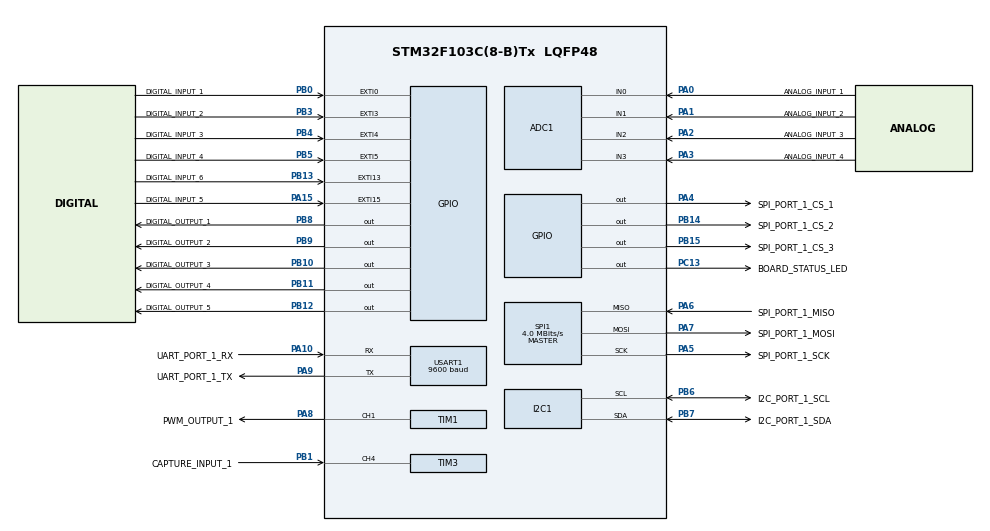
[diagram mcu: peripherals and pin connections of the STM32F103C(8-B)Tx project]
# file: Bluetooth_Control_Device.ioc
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ADC1.Channel-0\#ChannelRegularConversion=ADC_CHANNEL_0
ADC1.NbrOfConversionFlag=1
ADC1.Rank-0\#ChannelRegularConversion=1
ADC1.SamplingTime-0\#ChannelRegularConversion=ADC_SAMPLETIME_1CYCLE_5
ADC1.master=1
Mcu.Family=STM32F1
Mcu.Name=STM32F103C(8-B)Tx
Mcu.Package=LQFP48
NVIC.EXTI0_IRQn=true\:1\:0\:true\:false\:true\:true\:true\:true
NVIC.EXTI15_10_IRQn=true\:1\:0\:true\:false\:true\:true\:true\:true
NVIC.EXTI3_IRQn=true\:1\:0\:true\:false\:true\:true\:true\:true
NVIC.EXTI4_IRQn=true\:1\:0\:true\:false\:true\:true\:true\:true
NVIC.EXTI9_5_IRQn=true\:1\:0\:true\:false\:true\:true\:true\:true
NVIC.I2C1_ER_IRQn=true\:2\:0\:true\:false\:true\:true\:true\:true
NVIC.I2C1_EV_IRQn=true\:2\:0\:true\:false\:true\:true\:true\:true
NVIC.PriorityGroup=NVIC_PRIORITYGROUP_4
NVIC.TIM3_IRQn=true\:0\:0\:false\:false\:true\:true\:true\:true
NVIC.USART1_IRQn=true\:2\:0\:true\:false\:true\:true\:true\:true
PA0-WKUP.GPIO_Label=ANALOG_INPUT_1
PA0-WKUP.Signal=ADCx_IN0
PA1.GPIO_Label=ANALOG_INPUT_2
PA1.Signal=ADCx_IN1
PA10.GPIO_Label=UART_PORT_1_RX
PA10.Mode=Asynchronous
PA10.Signal=USART1_RX
PA13.Mode=Serial_Wire
PA13.Signal=SYS_JTMS-SWDIO
PA14.Mode=Serial_Wire
PA14.Signal=SYS_JTCK-SWCLK
PA15.GPIO_Label=DIGITAL_INPUT_5
PA15.GPIO_ModeDefaultEXTI=GPIO_MODE_IT_FALLING
PA15.GPIO_PuPd=GPIO_PULLUP
PA15.Signal=GPXTI15
PA2.GPIO_Label=ANALOG_INPUT_3
PA2.Signal=ADCx_IN2
PA3.GPIO_Label=ANALOG_INPUT_4
PA3.Signal=ADCx_IN3
PA4.GPIO_Label=SPI_PORT_1_CS_1
PA4.Signal=GPIO_Output
PA5.GPIO_Label=SPI_PORT_1_SCK
PA5.Mode=Full_Duplex_Master
PA5.Signal=SPI1_SCK
PA6.GPIO_Label=SPI_PORT_1_MISO
PA6.Mode=Full_Duplex_Master
PA6.Signal=SPI1_MISO
PA7.GPIO_Label=SPI_PORT_1_MOSI
PA7.Mode=Full_Duplex_Master
PA7.Signal=SPI1_MOSI
PA8.GPIO_Label=PWM_OUTPUT_1
PA8.Signal=S_TIM1_CH1
PA9.GPIO_Label=UART_PORT_1_TX
PA9.Mode=Asynchronous
PA9.Signal=USART1_TX
PB0.GPIO_Label=DIGITAL_INPUT_1
PB0.GPIO_ModeDefaultEXTI=GPIO_MODE_IT_FALLING
PB0.GPIO_PuPd=GPIO_PULLUP
PB0.Signal=GPXTI0
PB1.GPIO_Label=CAPTURE_INPUT_1
PB1.Signal=S_TIM3_CH4
PB10.GPIO_Label=DIGITAL_OUTPUT_3
PB10.Signal=GPIO_Output
PB11.GPIO_Label=DIGITAL_OUTPUT_4
PB11.Signal=GPIO_Output
PB12.GPIO_Label=DIGITAL_OUTPUT_5
PB12.Signal=GPIO_Output
PB13.GPIO_Label=DIGITAL_INPUT_6
PB13.Signal=GPXTI13
PB14.GPIO_Label=SPI_PORT_1_CS_2
PB14.Signal=GPIO_Output
PB15.GPIO_Label=SPI_PORT_1_CS_3
PB15.Signal=GPIO_Output
PB3.GPIO_Label=DIGITAL_INPUT_2
PB3.GPIO_ModeDefaultEXTI=GPIO_MODE_IT_FALLING
PB3.GPIO_PuPd=GPIO_PULLUP
PB3.Signal=GPXTI3
PB4.GPIO_Label=DIGITAL_INPUT_3
PB4.GPIO_ModeDefaultEXTI=GPIO_MODE_IT_FALLING
PB4.GPIO_PuPd=GPIO_PULLUP
PB4.Signal=GPXTI4
PB5.GPIO_Label=DIGITAL_INPUT_4
PB5.GPIO_ModeDefaultEXTI=GPIO_MODE_IT_FALLING
PB5.GPIO_PuPd=GPIO_PULLUP
PB5.Signal=GPXTI5
PB6.GPIO_Label=I2C_PORT_1_SCL
PB6.Mode=I2C
PB6.Signal=I2C1_SCL
PB7.GPIO_Label=I2C_PORT_1_SDA
PB7.Mode=I2C
PB7.Signal=I2C1_SDA
PB8.GPIO_Label=DIGITAL_OUTPUT_1
PB8.Signal=GPIO_Output
PB9.GPIO_Label=DIGITAL_OUTPUT_2
PB9.Signal=GPIO_Output
PC13-TAMPER-RTC.GPIO_Label=BOARD_STATUS_LED
PC13-TAMPER-RTC.Signal=GPIO_Output
PD0-OSC_IN.Mode=HSE-External-Oscillator
PD0-OSC_IN.Signal=RCC_OSC_IN
PD1-OSC_OUT.Mode=HSE-External-Oscillator
PD1-OSC_OUT.Signal=RCC_OSC_OUT
ProjectManager.HeapSize=0x200
ProjectManager.StackSize=0x400
ProjectManager.TargetToolchain=CMake
RCC.APB1Freq_Value=8000000
RCC.APB2Freq_Value=8000000
SH.ADCx_IN0.0=ADC1_IN0,IN0
SH.ADCx_IN1.0=ADC1_IN1,IN1
SH.ADCx_IN2.0=ADC1_IN2,IN2
SH.ADCx_IN3.0=ADC1_IN3,IN3
SH.S_TIM1_CH1.0=TIM1_CH1,PWM Generation1 CH1
SH.S_TIM3_CH4.0=TIM3_CH4,Input_Capture4_from_TI4
SPI1.CalculateBaudRate=4.0 MBits/s
SPI1.Direction=SPI_DIRECTION_2LINES
SPI1.Mode=SPI_MODE_MASTER
SPI1.VirtualType=VM_MASTER
TIM1.Channel-PWM\ Generation1\ CH1=TIM_CHANNEL_1
TIM1.Period=19999
TIM1.Prescaler=7
TIM3.Channel-Input_Capture4_from_TI4=TIM_CHANNEL_4
TIM3.ICFilter_CH4=4
TIM3.ICPolarity_CH4=TIM_INPUTCHANNELPOLARITY_FALLING
TIM3.Prescaler=7
USART1.BaudRate=9600
USART1.VirtualMode=VM_ASYNC
board=custom

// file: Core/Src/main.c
/* USER CODE BEGIN Header */
/**
  ******************************************************************************
  * @file           : main.c
  * @brief          : Main program body
  ******************************************************************************
  * @attention
  *
  * Copyright (c) 2026 STMicroelectronics.
  * All rights reserved.
  *
  * This software is licensed under terms that can be found in the LICENSE file
  * in the root directory of this software component.
  * If no LICENSE file comes with this software, it is provided AS-IS.
  *
  ******************************************************************************
  */
/* USER CODE END Header */
#include "main.h"

/* USER CODE BEGIN Includes */
#include "app.h"

/* USER CODE END Includes */

ADC_HandleTypeDef hadc1;

I2C_HandleTypeDef hi2c1;

SPI_HandleTypeDef hspi1;

TIM_HandleTypeDef htim1;
TIM_HandleTypeDef htim3;

UART_HandleTypeDef huart1;

void SystemClock_Config(void);
static void MX_GPIO_Init(void);
static void MX_I2C1_Init(void);
static void MX_TIM3_Init(void);
static void MX_ADC1_Init(void);
static void MX_SPI1_Init(void);
static void MX_TIM1_Init(void);
static void MX_USART1_UART_Init(void);

int main(void)
{

  /* MCU Configuration--------------------------------------------------------*/

  /* Reset of all peripherals, Initializes the Flash interface and the Systick. */
  HAL_Init();

  /* Configure the system clock */
  SystemClock_Config();

  /* Initialize all configured peripherals */
  MX_GPIO_Init();
  MX_I2C1_Init();
  MX_TIM3_Init();
  MX_ADC1_Init();
  MX_SPI1_Init();
  MX_TIM1_Init();
  MX_USART1_UART_Init();
  /* USER CODE BEGIN 2 */
  App_Initialize(&htim3, &htim1, &huart1, &hi2c1, HAL_GetTick());

  /* USER CODE END 2 */

  /* Infinite loop */
  while (1)
  {

    /* USER CODE BEGIN 3 */
    App_Service(HAL_GetTick());
  }
  /* USER CODE END 3 */
}

void SystemClock_Config(void)
{
  RCC_OscInitTypeDef RCC_OscInitStruct = {0};
  RCC_ClkInitTypeDef RCC_ClkInitStruct = {0};
  RCC_PeriphCLKInitTypeDef PeriphClkInit = {0};

  /** Initializes the RCC Oscillators according to the specified parameters
  * in the RCC_OscInitTypeDef structure.
  */
  RCC_OscInitStruct.OscillatorType = RCC_OSCILLATORTYPE_HSI;
  RCC_OscInitStruct.HSIState = RCC_HSI_ON;
  RCC_OscInitStruct.HSICalibrationValue = RCC_HSICALIBRATION_DEFAULT;
  RCC_OscInitStruct.PLL.PLLState = RCC_PLL_NONE;
  if (HAL_RCC_OscConfig(&RCC_OscInitStruct) != HAL_OK)
  {
    Error_Handler();
  }

  /** Initializes the CPU, AHB and APB buses clocks
  */
  RCC_ClkInitStruct.ClockType = RCC_CLOCKTYPE_HCLK|RCC_CLOCKTYPE_SYSCLK
                              |RCC_CLOCKTYPE_PCLK1|RCC_CLOCKTYPE_PCLK2;
  RCC_ClkInitStruct.SYSCLKSource = RCC_SYSCLKSOURCE_HSI;
  RCC_ClkInitStruct.AHBCLKDivider = RCC_SYSCLK_DIV1;
  RCC_ClkInitStruct.APB1CLKDivider = RCC_HCLK_DIV1;
  RCC_ClkInitStruct.APB2CLKDivider = RCC_HCLK_DIV1;

  if (HAL_RCC_ClockConfig(&RCC_ClkInitStruct, FLASH_LATENCY_0) != HAL_OK)
  {
    Error_Handler();
  }
  PeriphClkInit.PeriphClockSelection = RCC_PERIPHCLK_ADC;
  PeriphClkInit.AdcClockSelection = RCC_ADCPCLK2_DIV2;
  if (HAL_RCCEx_PeriphCLKConfig(&PeriphClkInit) != HAL_OK)
  {
    Error_Handler();
  }
}

static void MX_ADC1_Init(void)
{

  ADC_ChannelConfTypeDef sConfig = {0};

  /** Common config
  */
  hadc1.Instance = ADC1;
  hadc1.Init.ScanConvMode = ADC_SCAN_DISABLE;
  hadc1.Init.ContinuousConvMode = DISABLE;
  hadc1.Init.DiscontinuousConvMode = DISABLE;
  hadc1.Init.ExternalTrigConv = ADC_SOFTWARE_START;
  hadc1.Init.DataAlign = ADC_DATAALIGN_RIGHT;
  hadc1.Init.NbrOfConversion = 1;
  if (HAL_ADC_Init(&hadc1) != HAL_OK)
  {
    Error_Handler();
  }

  /** Configure Regular Channel
  */
  sConfig.Channel = ADC_CHANNEL_0;
  sConfig.Rank = ADC_REGULAR_RANK_1;
  sConfig.SamplingTime = ADC_SAMPLETIME_1CYCLE_5;
  if (HAL_ADC_ConfigChannel(&hadc1, &sConfig) != HAL_OK)
  {
    Error_Handler();
  }

}

static void MX_I2C1_Init(void)
{

  hi2c1.Instance = I2C1;
  hi2c1.Init.ClockSpeed = 100000;
  hi2c1.Init.DutyCycle = I2C_DUTYCYCLE_2;
  hi2c1.Init.OwnAddress1 = 0;
  hi2c1.Init.AddressingMode = I2C_ADDRESSINGMODE_7BIT;
  hi2c1.Init.DualAddressMode = I2C_DUALADDRESS_DISABLE;
  hi2c1.Init.OwnAddress2 = 0;
  hi2c1.Init.GeneralCallMode = I2C_GENERALCALL_DISABLE;
  hi2c1.Init.NoStretchMode = I2C_NOSTRETCH_DISABLE;
  if (HAL_I2C_Init(&hi2c1) != HAL_OK)
  {
    Error_Handler();
  }

}

static void MX_SPI1_Init(void)
{

  /* SPI1 parameter configuration*/
  hspi1.Instance = SPI1;
  hspi1.Init.Mode = SPI_MODE_MASTER;
  hspi1.Init.Direction = SPI_DIRECTION_2LINES;
  hspi1.Init.DataSize = SPI_DATASIZE_8BIT;
  hspi1.Init.CLKPolarity = SPI_POLARITY_LOW;
  hspi1.Init.CLKPhase = SPI_PHASE_1EDGE;
  hspi1.Init.NSS = SPI_NSS_SOFT;
  hspi1.Init.BaudRatePrescaler = SPI_BAUDRATEPRESCALER_2;
  hspi1.Init.FirstBit = SPI_FIRSTBIT_MSB;
  hspi1.Init.TIMode = SPI_TIMODE_DISABLE;
  hspi1.Init.CRCCalculation = SPI_CRCCALCULATION_DISABLE;
  hspi1.Init.CRCPolynomial = 10;
  if (HAL_SPI_Init(&hspi1) != HAL_OK)
  {
    Error_Handler();
  }

}

static void MX_TIM1_Init(void)
{

  TIM_MasterConfigTypeDef sMasterConfig = {0};
  TIM_OC_InitTypeDef sConfigOC = {0};
  TIM_BreakDeadTimeConfigTypeDef sBreakDeadTimeConfig = {0};

  htim1.Instance = TIM1;
  htim1.Init.Prescaler = 7;
  htim1.Init.CounterMode = TIM_COUNTERMODE_UP;
  htim1.Init.Period = 19999;
  htim1.Init.ClockDivision = TIM_CLOCKDIVISION_DIV1;
  htim1.Init.RepetitionCounter = 0;
  htim1.Init.AutoReloadPreload = TIM_AUTORELOAD_PRELOAD_DISABLE;
  if (HAL_TIM_PWM_Init(&htim1) != HAL_OK)
  {
    Error_Handler();
  }
  sMasterConfig.MasterOutputTrigger = TIM_TRGO_RESET;
  sMasterConfig.MasterSlaveMode = TIM_MASTERSLAVEMODE_DISABLE;
  if (HAL_TIMEx_MasterConfigSynchronization(&htim1, &sMasterConfig) != HAL_OK)
  {
    Error_Handler();
  }
  sConfigOC.OCMode = TIM_OCMODE_PWM1;
  sConfigOC.Pulse = 0;
  sConfigOC.OCPolarity = TIM_OCPOLARITY_HIGH;
  sConfigOC.OCNPolarity = TIM_OCNPOLARITY_HIGH;
  sConfigOC.OCFastMode = TIM_OCFAST_DISABLE;
  sConfigOC.OCIdleState = TIM_OCIDLESTATE_RESET;
  sConfigOC.OCNIdleState = TIM_OCNIDLESTATE_RESET;
  if (HAL_TIM_PWM_ConfigChannel(&htim1, &sConfigOC, TIM_CHANNEL_1) != HAL_OK)
  {
    Error_Handler();
  }
  sBreakDeadTimeConfig.OffStateRunMode = TIM_OSSR_DISABLE;
  sBreakDeadTimeConfig.OffStateIDLEMode = TIM_OSSI_DISABLE;
  sBreakDeadTimeConfig.LockLevel = TIM_LOCKLEVEL_OFF;
  sBreakDeadTimeConfig.DeadTime = 0;
  sBreakDeadTimeConfig.BreakState = TIM_BREAK_DISABLE;
  sBreakDeadTimeConfig.BreakPolarity = TIM_BREAKPOLARITY_HIGH;
  sBreakDeadTimeConfig.AutomaticOutput = TIM_AUTOMATICOUTPUT_DISABLE;
  if (HAL_TIMEx_ConfigBreakDeadTime(&htim1, &sBreakDeadTimeConfig) != HAL_OK)
  {
    Error_Handler();
  }
  HAL_TIM_MspPostInit(&htim1);

}

static void MX_TIM3_Init(void)
{

  TIM_MasterConfigTypeDef sMasterConfig = {0};
  TIM_IC_InitTypeDef sConfigIC = {0};

  htim3.Instance = TIM3;
  htim3.Init.Prescaler = 7;
  htim3.Init.CounterMode = TIM_COUNTERMODE_UP;
  htim3.Init.Period = 65535;
  htim3.Init.ClockDivision = TIM_CLOCKDIVISION_DIV1;
  htim3.Init.AutoReloadPreload = TIM_AUTORELOAD_PRELOAD_DISABLE;
  if (HAL_TIM_IC_Init(&htim3) != HAL_OK)
  {
    Error_Handler();
  }
  sMasterConfig.MasterOutputTrigger = TIM_TRGO_RESET;
  sMasterConfig.MasterSlaveMode = TIM_MASTERSLAVEMODE_DISABLE;
  if (HAL_TIMEx_MasterConfigSynchronization(&htim3, &sMasterConfig) != HAL_OK)
  {
    Error_Handler();
  }
  sConfigIC.ICPolarity = TIM_INPUTCHANNELPOLARITY_FALLING;
  sConfigIC.ICSelection = TIM_ICSELECTION_DIRECTTI;
  sConfigIC.ICPrescaler = TIM_ICPSC_DIV1;
  sConfigIC.ICFilter = 4;
  if (HAL_TIM_IC_ConfigChannel(&htim3, &sConfigIC, TIM_CHANNEL_4) != HAL_OK)
  {
    Error_Handler();
  }

}

static void MX_USART1_UART_Init(void)
{

  huart1.Instance = USART1;
  huart1.Init.BaudRate = 9600;
  huart1.Init.WordLength = UART_WORDLENGTH_8B;
  huart1.Init.StopBits = UART_STOPBITS_1;
  huart1.Init.Parity = UART_PARITY_NONE;
  huart1.Init.Mode = UART_MODE_TX_RX;
  huart1.Init.HwFlowCtl = UART_HWCONTROL_NONE;
  huart1.Init.OverSampling = UART_OVERSAMPLING_16;
  if (HAL_UART_Init(&huart1) != HAL_OK)
  {
    Error_Handler();
  }

}

static void MX_GPIO_Init(void)
{
  GPIO_InitTypeDef GPIO_InitStruct = {0};

  /* GPIO Ports Clock Enable */
  __HAL_RCC_GPIOC_CLK_ENABLE();
  __HAL_RCC_GPIOD_CLK_ENABLE();
  __HAL_RCC_GPIOA_CLK_ENABLE();
  __HAL_RCC_GPIOB_CLK_ENABLE();

  /*Configure GPIO pin Output Level */
  HAL_GPIO_WritePin(BOARD_STATUS_LED_GPIO_Port, BOARD_STATUS_LED_Pin, GPIO_PIN_RESET);

  /*Configure GPIO pin Output Level */
  HAL_GPIO_WritePin(SPI_PORT_1_CS_1_GPIO_Port, SPI_PORT_1_CS_1_Pin, GPIO_PIN_RESET);

  /*Configure GPIO pin Output Level */
  HAL_GPIO_WritePin(GPIOB, DIGITAL_OUTPUT_3_Pin|DIGITAL_OUTPUT_4_Pin|DIGITAL_OUTPUT_5_Pin|SPI_PORT_1_CS_2_Pin
                          |SPI_PORT_1_CS_3_Pin|DIGITAL_OUTPUT_1_Pin|DIGITAL_OUTPUT_2_Pin, GPIO_PIN_RESET);

  /*Configure GPIO pin : BOARD_STATUS_LED_Pin */
  GPIO_InitStruct.Pin = BOARD_STATUS_LED_Pin;
  GPIO_InitStruct.Mode = GPIO_MODE_OUTPUT_PP;
  GPIO_InitStruct.Pull = GPIO_NOPULL;
  GPIO_InitStruct.Speed = GPIO_SPEED_FREQ_LOW;
  HAL_GPIO_Init(BOARD_STATUS_LED_GPIO_Port, &GPIO_InitStruct);

  /*Configure GPIO pin : SPI_PORT_1_CS_1_Pin */
  GPIO_InitStruct.Pin = SPI_PORT_1_CS_1_Pin;
  GPIO_InitStruct.Mode = GPIO_MODE_OUTPUT_PP;
  GPIO_InitStruct.Pull = GPIO_NOPULL;
  GPIO_InitStruct.Speed = GPIO_SPEED_FREQ_LOW;
  HAL_GPIO_Init(SPI_PORT_1_CS_1_GPIO_Port, &GPIO_InitStruct);

  /*Configure GPIO pins : DIGITAL_INPUT_1_Pin DIGITAL_INPUT_2_Pin DIGITAL_INPUT_3_Pin DIGITAL_INPUT_4_Pin */
  GPIO_InitStruct.Pin = DIGITAL_INPUT_1_Pin|DIGITAL_INPUT_2_Pin|DIGITAL_INPUT_3_Pin|DIGITAL_INPUT_4_Pin;
  GPIO_InitStruct.Mode = GPIO_MODE_IT_FALLING;
  GPIO_InitStruct.Pull = GPIO_PULLUP;
  HAL_GPIO_Init(GPIOB, &GPIO_InitStruct);

  /*Configure GPIO pins : DIGITAL_OUTPUT_3_Pin DIGITAL_OUTPUT_4_Pin DIGITAL_OUTPUT_5_Pin SPI_PORT_1_CS_2_Pin
                           SPI_PORT_1_CS_3_Pin DIGITAL_OUTPUT_1_Pin DIGITAL_OUTPUT_2_Pin */
  GPIO_InitStruct.Pin = DIGITAL_OUTPUT_3_Pin|DIGITAL_OUTPUT_4_Pin|DIGITAL_OUTPUT_5_Pin|SPI_PORT_1_CS_2_Pin
                          |SPI_PORT_1_CS_3_Pin|DIGITAL_OUTPUT_1_Pin|DIGITAL_OUTPUT_2_Pin;
  GPIO_InitStruct.Mode = GPIO_MODE_OUTPUT_PP;
  GPIO_InitStruct.Pull = GPIO_NOPULL;
  GPIO_InitStruct.Speed = GPIO_SPEED_FREQ_LOW;
  HAL_GPIO_Init(GPIOB, &GPIO_InitStruct);

  /*Configure GPIO pin : DIGITAL_INPUT_6_Pin */
  GPIO_InitStruct.Pin = DIGITAL_INPUT_6_Pin;
  GPIO_InitStruct.Mode = GPIO_MODE_IT_RISING;
  GPIO_InitStruct.Pull = GPIO_NOPULL;
  HAL_GPIO_Init(DIGITAL_INPUT_6_GPIO_Port, &GPIO_InitStruct);

  /*Configure GPIO pin : DIGITAL_INPUT_5_Pin */
  GPIO_InitStruct.Pin = DIGITAL_INPUT_5_Pin;
  GPIO_InitStruct.Mode = GPIO_MODE_IT_FALLING;
  GPIO_InitStruct.Pull = GPIO_PULLUP;
  HAL_GPIO_Init(DIGITAL_INPUT_5_GPIO_Port, &GPIO_InitStruct);

  /* EXTI interrupt init*/
  HAL_NVIC_SetPriority(EXTI0_IRQn, 1, 0);
  HAL_NVIC_EnableIRQ(EXTI0_IRQn);

  HAL_NVIC_SetPriority(EXTI3_IRQn, 1, 0);
  HAL_NVIC_EnableIRQ(EXTI3_IRQn);

  HAL_NVIC_SetPriority(EXTI4_IRQn, 1, 0);
  HAL_NVIC_EnableIRQ(EXTI4_IRQn);

  HAL_NVIC_SetPriority(EXTI9_5_IRQn, 1, 0);
  HAL_NVIC_EnableIRQ(EXTI9_5_IRQn);

  HAL_NVIC_SetPriority(EXTI15_10_IRQn, 1, 0);
  HAL_NVIC_EnableIRQ(EXTI15_10_IRQn);

}

/* USER CODE BEGIN 4 */

/**
 * @brief Chuyển tiếp sự kiện input capture từ HAL đến tầng application.
  * @param htim Con trỏ tới timer đã phát sinh capture interrupt.
  * @retval None
  */
void HAL_TIM_IC_CaptureCallback(TIM_HandleTypeDef *htim)
{
  App_HandleTimerInputCaptureInterrupt(htim);
}

/**
 * @brief Chuyển tiếp sự kiện GPIO EXTI tới tầng application.
  * @param GPIO_Pin Bitmask pin đã phát sinh ngắt.
  * @retval None
  */
void HAL_GPIO_EXTI_Callback(uint16_t GPIO_Pin)
{
  App_HandleGpioExtiInterrupt(GPIO_Pin);
}

/**
 * @brief Chuyển tiếp sự kiện hoàn thành I2C master transmit tới application.
 * @param hi2c Con trỏ tới I2C handle đã hoàn thành giao dịch.
 * @retval None
 */
void HAL_I2C_MasterTxCpltCallback(I2C_HandleTypeDef *hi2c)
{
  App_HandleI2cMasterTransmitCompleteInterrupt(hi2c);
}

/**
 * @brief Chuyển tiếp sự kiện hoàn thành đọc vùng nhớ/thanh ghi I2C tới application.
 * @param hi2c Con trỏ tới I2C handle đã hoàn thành giao dịch.
 * @retval None
 */
void HAL_I2C_MemRxCpltCallback(I2C_HandleTypeDef *hi2c)
{
  App_HandleI2cMemoryReadCompleteInterrupt(hi2c);
}

/**
 * @brief Chuyển tiếp sự kiện lỗi I2C tới application.
 * @param hi2c Con trỏ tới I2C handle đã phát sinh lỗi.
 * @retval None
 */
void HAL_I2C_ErrorCallback(I2C_HandleTypeDef *hi2c)
{
  App_HandleI2cErrorInterrupt(hi2c);
}

/**
 * @brief Chuyển tiếp sự kiện hoàn thành abort I2C tới application.
 * @param hi2c Con trỏ tới I2C handle đã hoàn thành abort.
 * @retval None
 */
void HAL_I2C_AbortCpltCallback(I2C_HandleTypeDef *hi2c)
{
  App_HandleI2cAbortCompleteInterrupt(hi2c);
}

/**
 * @brief Chuyển tiếp sự kiện nhận xong một byte UART tới application.
 * @param huart UART handle đã hoàn thành nhận bằng interrupt.
 * @retval None
 */
void HAL_UART_RxCpltCallback(UART_HandleTypeDef *huart)
{
  App_HandleUartReceiveCompleteInterrupt(huart);
}

/**
 * @brief Chuyển tiếp sự kiện truyền xong một đoạn UART tới application.
 * @param huart UART handle đã hoàn thành truyền bằng interrupt.
 * @retval None
 */
void HAL_UART_TxCpltCallback(UART_HandleTypeDef *huart)
{
  App_HandleUartTransmitCompleteInterrupt(huart);
}

/**
 * @brief Chuyển tiếp lỗi UART tới application để ghi nhận và phục hồi RX hữu hạn.
 * @param huart UART handle đã phát sinh lỗi.
 * @retval None
 */
void HAL_UART_ErrorCallback(UART_HandleTypeDef *huart)
{
  App_HandleUartErrorInterrupt(huart);
}

/* USER CODE END 4 */

void Error_Handler(void)
{
  __disable_irq();
  while (1)
  {
  }
}
